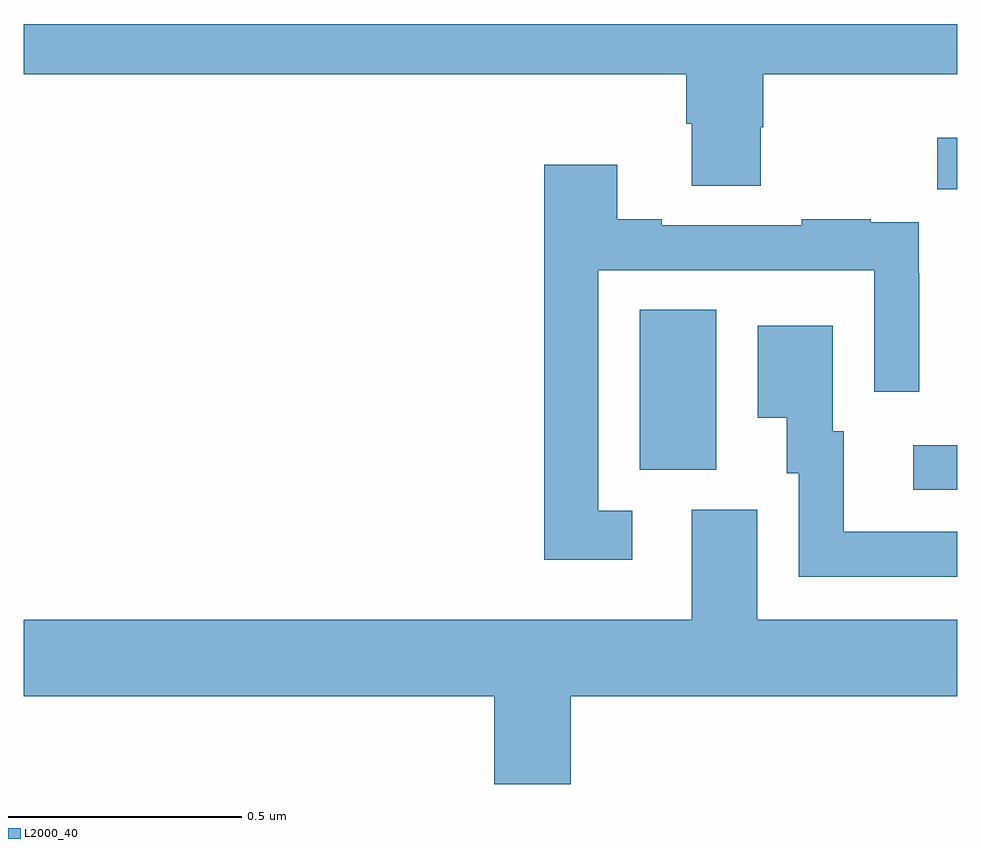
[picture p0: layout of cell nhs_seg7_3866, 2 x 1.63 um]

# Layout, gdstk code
import gdstk
lib = gdstk.Library(unit=1e-6, precision=1e-09)
def R(c, l, rs):  # rectangles x0, y0, x1, y1
    for r in rs: c.add(gdstk.rectangle(r[:2], r[2:], *l))
def P(c, l, *ps):  # polygons
    for p in ps: c.add(gdstk.Polygon(p, *l))
L2000_40 = (2000, 40)

nhs_seg7_3866 = lib.new_cell('nhs_seg7_3866')
R(nhs_seg7_3866, L2000_40, [(165.906,1057.002,166,1057.098), (165.32,1057.045,165.484,1057.388), (165.957,1057.646,166,1057.756)])
P(nhs_seg7_3866, L2000_40, [(165.579,1057.779),(165.584,1057.779),(165.584,1057.892),(166,1057.892),(166,1058),(164,1058),(164,1057.892),(165.419,1057.892),(165.419,1057.786),(165.431,1057.786),(165.431,1057.654),(165.579,1057.654)],
  [(165.304,1056.957),(165.231,1056.957),(165.231,1057.473),(165.822,1057.473),(165.822,1057.212),(165.918,1057.212),(165.918,1057.466),(165.917,1057.466),(165.917,1057.575),(165.815,1057.575),(165.815,1057.582),(165.667,1057.582),(165.667,1057.569),(165.367,1057.569),(165.367,1057.582),(165.271,1057.582),(165.271,1057.699),(165.115,1057.699),(165.115,1056.852),(165.304,1056.852)],
  [(166,1056.912),(165.757,1056.912),(165.757,1057.128),(165.733,1057.128),(165.733,1057.354),(165.572,1057.354),(165.572,1057.157),(165.635,1057.157),(165.635,1057.038),(165.66,1057.038),(165.66,1056.816),(166,1056.816)],
  [(165.172,1056.56),(166,1056.56),(166,1056.724),(165.571,1056.724),(165.571,1056.96),(165.431,1056.96),(165.431,1056.724),(164,1056.724),(164,1056.56),(165.008,1056.56),(165.008,1056.372),(165.172,1056.372)])

lib.write_gds('nhs_seg7_3866.gds')
